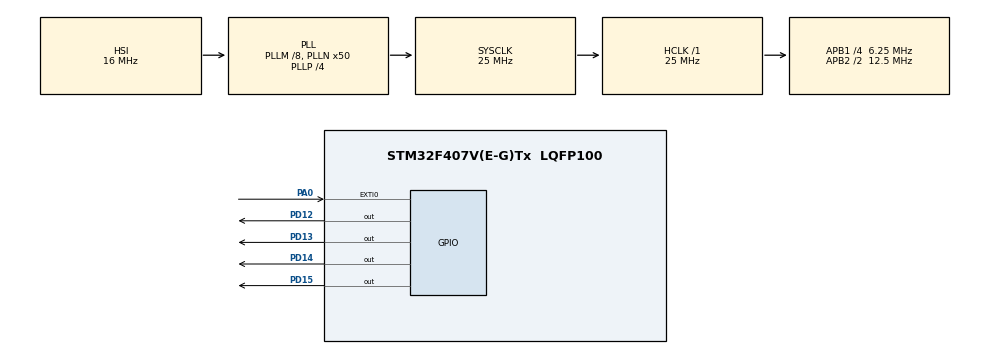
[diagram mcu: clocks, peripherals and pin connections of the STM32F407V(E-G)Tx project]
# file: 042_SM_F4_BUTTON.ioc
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Mcu.Family=STM32F4
Mcu.Name=STM32F407V(E-G)Tx
Mcu.Package=LQFP100
NVIC.EXTI0_IRQn=true\:0\:0\:false\:false\:true\:true\:true\:true
NVIC.PriorityGroup=NVIC_PRIORITYGROUP_0
PA0-WKUP.GPIO_PuPd=GPIO_PULLDOWN
PA0-WKUP.Signal=GPXTI0
PD12.Signal=GPIO_Output
PD13.Signal=GPIO_Output
PD14.Signal=GPIO_Output
PD15.Signal=GPIO_Output
ProjectManager.HeapSize=0x200
ProjectManager.StackSize=0x400
ProjectManager.TargetToolchain=STM32CubeIDE
RCC.48MHZClocksFreq_Value=14285714.285714285
RCC.AHBFreq_Value=25000000
RCC.APB1CLKDivider=RCC_HCLK_DIV4
RCC.APB1Freq_Value=6250000
RCC.APB1TimFreq_Value=12500000
RCC.APB2CLKDivider=RCC_HCLK_DIV2
RCC.APB2Freq_Value=12500000
RCC.APB2TimFreq_Value=25000000
RCC.CortexFreq_Value=25000000
RCC.HCLKFreq_Value=25000000
RCC.HSE_VALUE=8000000
RCC.HSI_VALUE=16000000
RCC.LSE_VALUE=32768
RCC.PLLM=8
RCC.PLLN=50
RCC.PLLP=RCC_PLLP_DIV4
RCC.PLLQ=7
RCC.SYSCLKFreq_VALUE=25000000
RCC.SYSCLKSource=RCC_SYSCLKSOURCE_PLLCLK
RCC.VCOOutputFreq_Value=100000000
board=STM32F407G-DISC1

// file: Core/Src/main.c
/* USER CODE BEGIN Header */
/**
  ******************************************************************************
  * @file           : main.c
  * @brief          : Main program body
  ******************************************************************************
  * @attention
  *
  * Copyright (c) 2023 STMicroelectronics.
  * All rights reserved.
  *
  * This software is licensed under terms that can be found in the LICENSE file
  * in the root directory of this software component.
  * If no LICENSE file comes with this software, it is provided AS-IS.
  *
  ******************************************************************************
  */
/* USER CODE END Header */
#include "main.h"

/* USER CODE BEGIN PTD */
typedef enum{

	SM_Error,
	SM_Idle,
	SM_LedOn,
	SM_LedOff,
	SM_Delay

}SM_LED_State;

SM_LED_State SM_LED_state;
SM_LED_State SM_LED_next_state;
/* USER CODE END PTD */

void SystemClock_Config(void);
static void MX_GPIO_Init(void);

/* USER CODE BEGIN 0 */
void HAL_GPIO_EXTI_Callback(uint16_t GPIO_Pin)
{

		SM_LED_state = SM_LedOn;

}

/* USER CODE END 0 */

int main(void)
{

  /* MCU Configuration--------------------------------------------------------*/

  /* Reset of all peripherals, Initializes the Flash interface and the Systick. */
  HAL_Init();

  /* Configure the system clock */
  SystemClock_Config();

  /* Initialize all configured peripherals */
  MX_GPIO_Init();

  /* Infinite loop */
  /* USER CODE BEGIN WHILE */
  while (1)
  {
	  switch(SM_LED_state)
	  {
	  	case SM_Error:
	  	{
	  		break;
	  	}
	  	case SM_Idle:
	  	{
	  		break;
	  	}
	  	case SM_LedOn:
	  	{
	  		HAL_GPIO_WritePin(GPIOD, GPIO_PIN_12 | GPIO_PIN_13 | GPIO_PIN_14 | GPIO_PIN_15, GPIO_PIN_SET);
	  		SM_LED_state = SM_Delay;
	  		SM_LED_next_state = SM_LedOff;
	  		break;
	  	}
	  	case SM_LedOff:
	  	{
	  		HAL_GPIO_WritePin(GPIOD, GPIO_PIN_12 | GPIO_PIN_13 | GPIO_PIN_14 | GPIO_PIN_15, GPIO_PIN_RESET);
	  		SM_LED_state = SM_Delay;
	  		SM_LED_next_state = SM_Idle;
	  		break;
	  	}
	  	case SM_Delay:
	  	{
	  		HAL_Delay(1000);
	  		SM_LED_state = SM_LED_next_state;
	  		break;
	  	}
	  	default:
	  	{
	  		SM_LED_state = SM_Error;
	  		break;
	  	}

	  }

    /* USER CODE END WHILE */

  }
}

void SystemClock_Config(void)
{
  RCC_OscInitTypeDef RCC_OscInitStruct = {0};
  RCC_ClkInitTypeDef RCC_ClkInitStruct = {0};

  /** Configure the main internal regulator output voltage
  */
  __HAL_RCC_PWR_CLK_ENABLE();
  __HAL_PWR_VOLTAGESCALING_CONFIG(PWR_REGULATOR_VOLTAGE_SCALE1);

  /** Initializes the RCC Oscillators according to the specified parameters
  * in the RCC_OscInitTypeDef structure.
  */
  RCC_OscInitStruct.OscillatorType = RCC_OSCILLATORTYPE_HSI;
  RCC_OscInitStruct.HSIState = RCC_HSI_ON;
  RCC_OscInitStruct.HSICalibrationValue = RCC_HSICALIBRATION_DEFAULT;
  RCC_OscInitStruct.PLL.PLLState = RCC_PLL_ON;
  RCC_OscInitStruct.PLL.PLLSource = RCC_PLLSOURCE_HSI;
  RCC_OscInitStruct.PLL.PLLM = 8;
  RCC_OscInitStruct.PLL.PLLN = 50;
  RCC_OscInitStruct.PLL.PLLP = RCC_PLLP_DIV4;
  RCC_OscInitStruct.PLL.PLLQ = 7;
  if (HAL_RCC_OscConfig(&RCC_OscInitStruct) != HAL_OK)
  {
    Error_Handler();
  }

  /** Initializes the CPU, AHB and APB buses clocks
  */
  RCC_ClkInitStruct.ClockType = RCC_CLOCKTYPE_HCLK|RCC_CLOCKTYPE_SYSCLK
                              |RCC_CLOCKTYPE_PCLK1|RCC_CLOCKTYPE_PCLK2;
  RCC_ClkInitStruct.SYSCLKSource = RCC_SYSCLKSOURCE_PLLCLK;
  RCC_ClkInitStruct.AHBCLKDivider = RCC_SYSCLK_DIV1;
  RCC_ClkInitStruct.APB1CLKDivider = RCC_HCLK_DIV4;
  RCC_ClkInitStruct.APB2CLKDivider = RCC_HCLK_DIV2;

  if (HAL_RCC_ClockConfig(&RCC_ClkInitStruct, FLASH_LATENCY_0) != HAL_OK)
  {
    Error_Handler();
  }
}

static void MX_GPIO_Init(void)
{
  GPIO_InitTypeDef GPIO_InitStruct = {0};

  /* GPIO Ports Clock Enable */
  __HAL_RCC_GPIOA_CLK_ENABLE();
  __HAL_RCC_GPIOD_CLK_ENABLE();

  /*Configure GPIO pin Output Level */
  HAL_GPIO_WritePin(GPIOD, GPIO_PIN_12|GPIO_PIN_13|GPIO_PIN_14|GPIO_PIN_15, GPIO_PIN_RESET);

  /*Configure GPIO pin : PA0 */
  GPIO_InitStruct.Pin = GPIO_PIN_0;
  GPIO_InitStruct.Mode = GPIO_MODE_IT_RISING;
  GPIO_InitStruct.Pull = GPIO_PULLDOWN;
  HAL_GPIO_Init(GPIOA, &GPIO_InitStruct);

  /*Configure GPIO pins : PD12 PD13 PD14 PD15 */
  GPIO_InitStruct.Pin = GPIO_PIN_12|GPIO_PIN_13|GPIO_PIN_14|GPIO_PIN_15;
  GPIO_InitStruct.Mode = GPIO_MODE_OUTPUT_PP;
  GPIO_InitStruct.Pull = GPIO_NOPULL;
  GPIO_InitStruct.Speed = GPIO_SPEED_FREQ_LOW;
  HAL_GPIO_Init(GPIOD, &GPIO_InitStruct);

  /* EXTI interrupt init*/
  HAL_NVIC_SetPriority(EXTI0_IRQn, 0, 0);
  HAL_NVIC_EnableIRQ(EXTI0_IRQn);

}

void Error_Handler(void)
{
  __disable_irq();
  while (1)
  {
  }
}
